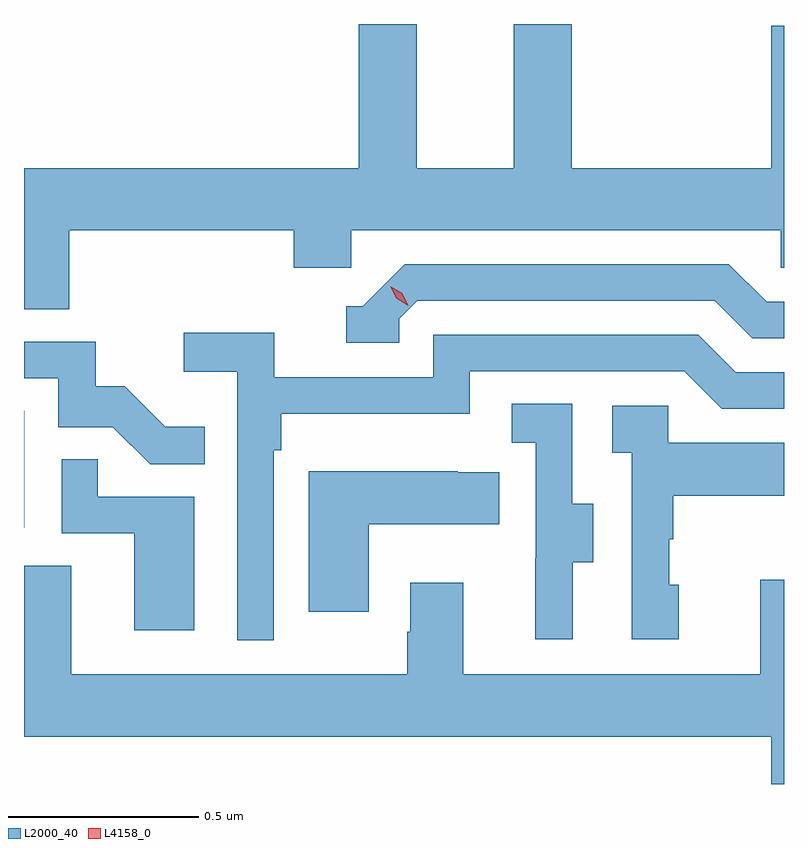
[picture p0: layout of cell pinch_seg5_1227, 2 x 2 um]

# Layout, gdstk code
import gdstk
lib = gdstk.Library(unit=1e-6, precision=1e-09)
def R(c, l, rs):  # rectangles x0, y0, x1, y1
    for r in rs: c.add(gdstk.rectangle(r[:2], r[2:], *l))
def P(c, l, *ps):  # polygons
    for p in ps: c.add(gdstk.Polygon(p, *l))
L2000_40 = (2000, 40)
L4158_0 = (4158, 0)

pinch_seg5_1227 = lib.new_cell('pinch_seg5_1227')
R(pinch_seg5_1227, L2000_40, [(858.345,835.998,858.346,836.305)])
P(pinch_seg5_1227, L2000_40, [(858.464,836.78),(859.055,836.78),(859.055,836.682),(859.206,836.682),(859.206,836.78),(860.337,836.78),(860.337,836.682),(860.345,836.682),(860.345,837.319),(860.312,837.319),(860.312,836.944),(859.787,836.944),(859.787,837.323),(859.634,837.323),(859.634,836.944),(859.378,836.944),(859.378,837.323),(859.226,837.323),(859.226,836.944),(858.345,836.944),(858.345,836.572),(858.464,836.572)],
  [(859.332,836.547),(859.38,836.595),(860.163,836.595),(860.262,836.496),(860.345,836.496),(860.345,836.592),(860.299,836.592),(860.2,836.691),(859.347,836.691),(859.236,836.58),(859.193,836.58),(859.193,836.484),(859.332,836.484)],
  [(859.002,836.201),(859.022,836.201),(859.022,836.297),(859.518,836.297),(859.518,836.409),(860.082,836.409),(860.181,836.31),(860.345,836.31),(860.345,836.406),(860.218,836.406),(860.119,836.505),(859.422,836.505),(859.422,836.394),(859.004,836.394),(859.004,836.51),(858.765,836.51),(858.765,836.408),(858.906,836.408),(858.906,835.701),(859.002,835.701)],
  [(858.821,836.263),(858.717,836.263),(858.61,836.37),(858.534,836.37),(858.534,836.487),(858.345,836.487),(858.345,836.391),(858.435,836.391),(858.435,836.262),(858.579,836.262),(858.677,836.164),(858.821,836.164)],
  [(859.789,835.906),(859.843,835.906),(859.843,836.061),(859.788,836.061),(859.788,836.324),(859.629,836.324),(859.629,836.221),(859.692,836.221),(859.692,835.917),(859.691,835.917),(859.691,835.704),(859.789,835.704)],
  [(860.068,835.848),(860.043,835.848),(860.043,835.967),(860.053,835.967),(860.053,836.081),(860.345,836.081),(860.345,836.221),(860.04,836.221),(860.04,836.319),(859.893,836.319),(859.893,836.195),(859.944,836.195),(859.944,835.704),(860.068,835.704)],
  [(858.793,836.079),(858.539,836.079),(858.539,836.177),(858.444,836.177),(858.444,835.983),(858.635,835.983),(858.635,835.728),(858.793,835.728)],
  [(859.252,836.006),(859.595,836.006),(859.595,836.143),(859.487,836.143),(859.487,836.146),(859.094,836.146),(859.094,835.776),(859.252,835.776)],
  [(860.345,835.861),(860.282,835.861),(860.282,835.612),(859.501,835.612),(859.501,835.852),(859.361,835.852),(859.361,835.724),(859.354,835.724),(859.354,835.612),(858.469,835.612),(858.469,835.898),(858.345,835.898),(858.345,835.448),(860.312,835.448),(860.312,835.323),(860.345,835.323)])
P(pinch_seg5_1227, L4158_0, [(859.356,836.581),(859.325,836.601),(859.309,836.633),(859.309,836.633),(859.309,836.633),(859.34,836.614),(859.356,836.581),(859.356,836.581)])

lib.write_gds('pinch_seg5_1227.gds')
